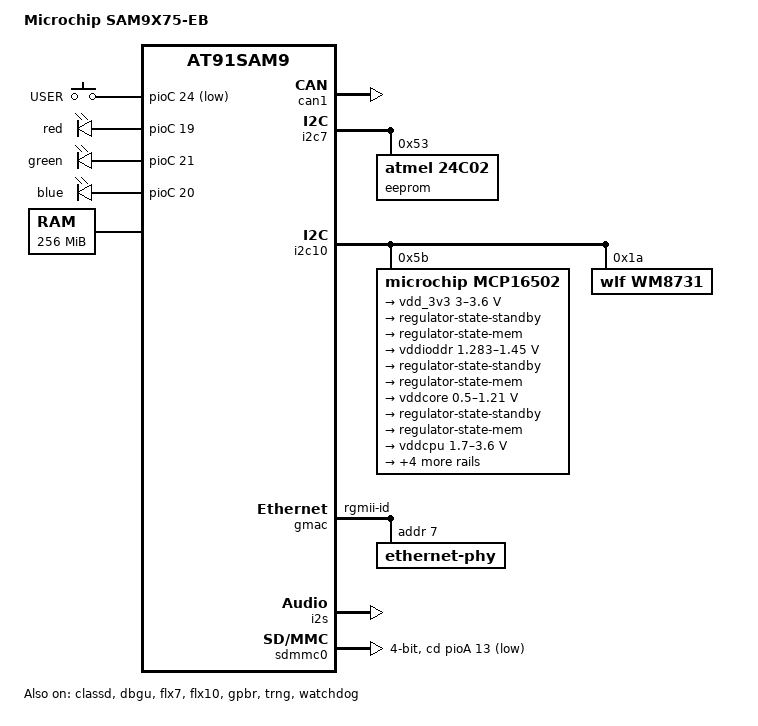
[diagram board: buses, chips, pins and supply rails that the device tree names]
// SPDX-License-Identifier: (GPL-2.0+ OR MIT)
/*
 * at91-sam9x75eb.dts - Device Tree file for Microchip SAM9X75-EB board
 *
 * Copyright (C) 2022 Microchip Technology Inc. and its subsidiaries
 *
 * Author: Balamanikandan Gunasundar <balamanikandan.gunasundar@microchip.com>
 *	Varshini Rajendran <varshini.rajendran@microchip.com>
 */
/dts-v1/;
#include "sam9x7.dtsi"
#include <dt-bindings/input/input.h>

/ {
	model = "Microchip SAM9X75-EB";
	compatible = "microchip,sam9x75eb", "microchip,sam9x7", "atmel,at91sam9";

	aliases {
		i2c0 = &i2c7;
		i2c1 = &i2c10;
	};

	chosen {
		stdout-path = "serial0:115200n8";
	};

	clocks {
		slow_xtal {
			clock-frequency = <32768>;
		};

		main_xtal {
			clock-frequency = <24000000>;
		};
	};

	gpio_keys {
		compatible = "gpio-keys";
		pinctrl-names = "default";
		pinctrl-0 = <&pinctrl_key_gpio_default>;
		status = "okay";

		sw1 {
			label = "USER";
			gpios = <&pioC 24 GPIO_ACTIVE_LOW>;
			linux,code = <KEY_PROG1>;
			wakeup-source;
		};
	};

	leds {
		compatible = "gpio-leds";
		pinctrl-names = "default";
		pinctrl-0 = <&pinctrl_led_gpio_default>;
		status = "okay";

		led-0 {
			label = "red";
			gpios = <&pioC 19 GPIO_ACTIVE_HIGH>;
		};

		led-1 {
			label = "green";
			gpios = <&pioC 21 GPIO_ACTIVE_HIGH>;
		};

		led-2 {
			label = "blue";
			gpios = <&pioC 20 GPIO_ACTIVE_HIGH>;
			linux,default-trigger = "heartbeat";
		};
	};

	memory {
		device_type = "memory";
		reg = <0x20000000 0x10000000>;
	};

	sound {
		compatible = "mikroe,mikroe-proto";
		model = "wm8731 @ sam9x75eb";
		i2s-controller = <&i2s>;
		audio-codec = <&wm8731>;
		dai-format = "i2s";
	};
};

&can0 {
	pinctrl-names = "default";
	pinctrl-0 = <&pinctrl_can0_default>;
	status = "disabled";	/* Conflict with dbgu0 */
};

&can1 {
	pinctrl-names = "default";
	pinctrl-0 = <&pinctrl_can1_default>;
	status = "okay";
};

&classd {
	pinctrl-names = "default";
	pinctrl-0 = <&pinctrl_classd_default>;
	atmel,pwm-type = "diff";
	atmel,non-overlap-time = <10>;
	status = "okay";
};

&dbgu {
	pinctrl-names = "default";
	pinctrl-0 = <&pinctrl_dbgu>;
	status = "okay";
};

&dma0 {
	status = "okay";
};

&flx7 {
	atmel,flexcom-mode = <ATMEL_FLEXCOM_MODE_TWI>;
	status = "okay";

	i2c7: i2c@600 {
		#address-cells = <1>;
		#size-cells = <0>;
		pinctrl-names = "default";
		pinctrl-0 = <&pinctrl_flx7_default>;
		i2c-analog-filter;
		i2c-digital-filter;
		i2c-digital-filter-width-ns = <35>;
		status = "okay";

		eeprom@53 {
			compatible = "atmel,24c02";
			reg = <0x53>;
			pagesize = <16>;
			status = "okay";
		};
	};
};

&flx10 {
	atmel,flexcom-mode = <ATMEL_FLEXCOM_MODE_TWI>;
	status = "okay";

	i2c10: i2c@600 {
		#address-cells = <1>;
		#size-cells = <0>;
		pinctrl-names = "default";
		pinctrl-0 = <&pinctrl_flx10_default>;
		i2c-analog-filter;
		i2c-digital-filter;
		i2c-digital-filter-width-ns = <35>;
		status = "okay";

		mcp16502@5b {
			compatible = "microchip,mcp16502";
			reg = <0x5b>;
			status = "okay";

			regulators {
				vdd_3v3: VDD_IO {
					regulator-name = "VDD_IO";
					regulator-min-microvolt = <3000000>;
					regulator-max-microvolt = <3600000>;
					regulator-initial-mode = <2>;
					regulator-allowed-modes = <2>, <4>;
					regulator-always-on;

					regulator-state-standby {
						regulator-on-in-suspend;
						regulator-mode = <4>;
					};

					regulator-state-mem {
						regulator-mode = <4>;
					};
				};

				vddioddr: VDD_DDR {
					regulator-name = "VDD_DDR";
					regulator-min-microvolt = <1283000>;
					regulator-max-microvolt = <1450000>;
					regulator-initial-mode = <2>;
					regulator-allowed-modes = <2>, <4>;
					regulator-always-on;

					regulator-state-standby {
						regulator-on-in-suspend;
						regulator-mode = <4>;
					};

					regulator-state-mem {
						regulator-on-in-suspend;
						regulator-mode = <4>;
					};
				};

				vddcore: VDD_CORE {
					regulator-name = "VDD_CORE";
					regulator-min-microvolt = <500000>;
					regulator-max-microvolt = <1210000>;
					regulator-initial-mode = <2>;
					regulator-allowed-modes = <2>, <4>;
					regulator-always-on;

					regulator-state-standby {
						regulator-on-in-suspend;
						regulator-mode = <4>;
					};

					regulator-state-mem {
						regulator-mode = <4>;
					};
				};

				vddcpu: VDD_OTHER {
					regulator-name = "VDD_OTHER";
					regulator-min-microvolt = <1700000>;
					regulator-max-microvolt = <3600000>;
					regulator-initial-mode = <2>;
					regulator-allowed-modes = <2>, <4>;
					regulator-ramp-delay = <3125>;
					regulator-always-on;

					regulator-state-standby {
						regulator-on-in-suspend;
						regulator-mode = <4>;
					};

					regulator-state-mem {
						regulator-mode = <4>;
					};
				};

				vldo1: LDO1 {
					regulator-name = "LDO1";
					regulator-min-microvolt = <1200000>;
					regulator-max-microvolt = <3700000>;
					regulator-always-on;

					regulator-state-standby {
						regulator-on-in-suspend;
					};
				};

				vldo2: LDO2 {
					regulator-name = "LDO2";
					regulator-min-microvolt = <1200000>;
					regulator-max-microvolt = <3700000>;

					regulator-state-standby {
						regulator-on-in-suspend;
					};
				};
			};
		};

		wm8731: codec@1a {
			compatible = "wlf,wm8731";
			reg = <0x1a>;
		};
	};
};

&gmac {
	phy-mode = "rgmii-id";
	#address-cells = <1>;
	#size-cells = <0>;

	pinctrl-names = "default";
	pinctrl-0 = <&pinctrl_macb0_rgmii>;
	magic-packet;
	status = "okay";

	ethernet-phy@7 {
		reg = <0x7>;
	};
};

&gpbr {
	status = "okay";
};

&i2s {
	pinctrl-names = "default";
	pinctrl-0 = <&pinctrl_i2s_default>;
	#sound-dai-cells = <0>;
	status = "okay";
};

&pinctrl {

	pinctrl_can0_default: can0{
		atmel,pins = <AT91_PIOA 26 AT91_PERIPH_B AT91_PINCTRL_PULL_UP		/* CAN0 Rx */
			      AT91_PIOA 27 AT91_PERIPH_B AT91_PINCTRL_PULL_UP>;		/* CAN0 Tx */
	};

	pinctrl_can1_default: can1{
		atmel,pins = <AT91_PIOA 28 AT91_PERIPH_B AT91_PINCTRL_PULL_UP		/* CAN1 Tx */
			      AT91_PIOA 29 AT91_PERIPH_B AT91_PINCTRL_PULL_UP>;		/* CAN1 Rx */
	};

	pinctrl_classd_default: classd {
		atmel,pins =
			<AT91_PIOA 18 AT91_PERIPH_C AT91_PINCTRL_PULL_UP
			 AT91_PIOA 19 AT91_PERIPH_C AT91_PINCTRL_PULL_DOWN
			 AT91_PIOA 20 AT91_PERIPH_C AT91_PINCTRL_PULL_UP
			 AT91_PIOA 21 AT91_PERIPH_C AT91_PINCTRL_PULL_DOWN>;
	};

	pinctrl_dbgu: dbgu-0 {
		atmel,pins = <AT91_PIOA 26 AT91_PERIPH_A AT91_PINCTRL_PULL_UP
			      AT91_PIOA 27 AT91_PERIPH_A AT91_PINCTRL_NONE>;
	};

	pinctrl_flx7_default: flx7_twi {
		atmel,pins =
			<AT91_PIOC 0 AT91_PERIPH_C AT91_PINCTRL_PULL_UP
			 AT91_PIOC 1 AT91_PERIPH_C AT91_PINCTRL_PULL_UP>;
	};

	pinctrl_flx10_default: flx10_twi {
		atmel,pins =
			<AT91_PIOC 16 AT91_PERIPH_C AT91_PINCTRL_PULL_UP
			 AT91_PIOC 17 AT91_PERIPH_C AT91_PINCTRL_PULL_UP>;
	};

	pinctrl_key_gpio_default: pinctrl_key_gpio {
		atmel,pins = <AT91_PIOC 24 AT91_PERIPH_GPIO AT91_PINCTRL_NONE>;
	};

	pinctrl_i2s_default: i2s {
		atmel,pins =
			<AT91_PIOB 26 AT91_PERIPH_D AT91_PINCTRL_NONE		/* I2SCK */
			 AT91_PIOB 15 AT91_PERIPH_D AT91_PINCTRL_NONE		/* I2SWS */
			 AT91_PIOB 16 AT91_PERIPH_D AT91_PINCTRL_NONE		/* I2SDIN */
			 AT91_PIOB 17 AT91_PERIPH_D AT91_PINCTRL_NONE		/* I2SDOUT */
			 AT91_PIOB 25 AT91_PERIPH_D AT91_PINCTRL_NONE>;		/* I2SMCK */
	};

	pinctrl_led_gpio_default: pinctrl_led_gpio {
		atmel,pins = <AT91_PIOC 19 AT91_PERIPH_GPIO AT91_PINCTRL_NONE
			      AT91_PIOC 21 AT91_PERIPH_GPIO AT91_PINCTRL_NONE
			      AT91_PIOC 20 AT91_PERIPH_GPIO AT91_PINCTRL_NONE>;
	};

	pinctrl_macb0_rgmii: gmac {
		atmel,pins =
			<AT91_PIOB 13 AT91_PERIPH_A  AT91_PINCTRL_SLEWRATE_DIS				/* ETH_TX0   */
			 AT91_PIOB 14 AT91_PERIPH_A  AT91_PINCTRL_SLEWRATE_DIS				/* ETH_TX1   */
			 AT91_PIOB 4  AT91_PERIPH_A  AT91_PINCTRL_SLEWRATE_DIS				/* ETH_TX2   */
			 AT91_PIOB 5  AT91_PERIPH_A  AT91_PINCTRL_SLEWRATE_DIS				/* ETH_TX3   */
			 AT91_PIOB 7  AT91_PERIPH_A  AT91_PINCTRL_SLEWRATE_DIS				/* ETH_TXCTL  */
			 AT91_PIOB 6  AT91_PERIPH_A (AT91_PINCTRL_PULL_UP | AT91_PINCTRL_SLEWRATE_DIS)	/* ETH_TXCK  */

			 AT91_PIOB 11 AT91_PERIPH_A  AT91_PINCTRL_SLEWRATE_DIS				/* ETH_RX0   */
			 AT91_PIOB 12 AT91_PERIPH_A  AT91_PINCTRL_SLEWRATE_DIS				/* ETH_RX1   */
			 AT91_PIOB 0  AT91_PERIPH_A  AT91_PINCTRL_SLEWRATE_DIS				/* ETH_RX2   */
			 AT91_PIOB 1  AT91_PERIPH_A  AT91_PINCTRL_SLEWRATE_DIS				/* ETH_RX3   */
			 AT91_PIOB 8  AT91_PERIPH_A  AT91_PINCTRL_SLEWRATE_DIS				/* ETH_RXCK   */
			 AT91_PIOB 3  AT91_PERIPH_A  AT91_PINCTRL_SLEWRATE_DIS				/* ETH_RXCTL */

			 AT91_PIOB 10 AT91_PERIPH_A     AT91_PINCTRL_NONE				/* ETH_MDC   */
			 AT91_PIOB 9  AT91_PERIPH_A     AT91_PINCTRL_NONE				/* ETH_MDIO  */

			 AT91_PIOB 2  AT91_PERIPH_A  AT91_PINCTRL_SLEWRATE_DIS				/* ETH_125CK */
			 AT91_PIOD 5  AT91_PERIPH_A  AT91_PINCTRL_SLEWRATE_DIS>;			/* ETH_INT   */
	};

	pinctrl_sdmmc0_default: sdmmc0 {
		atmel,pins =
			<AT91_PIOA 2 AT91_PERIPH_A (AT91_PINCTRL_DRIVE_STRENGTH_HI | AT91_PINCTRL_SLEWRATE_DIS)					/* PA2 CK  periph A with pullup */
			 AT91_PIOA 1 AT91_PERIPH_A (AT91_PINCTRL_PULL_UP | AT91_PINCTRL_DRIVE_STRENGTH_HI | AT91_PINCTRL_SLEWRATE_DIS)		/* PA1 CMD periph A with pullup */
			 AT91_PIOA 0 AT91_PERIPH_A (AT91_PINCTRL_PULL_UP | AT91_PINCTRL_DRIVE_STRENGTH_HI | AT91_PINCTRL_SLEWRATE_DIS)		/* PA0 DAT0 periph A */
			 AT91_PIOA 3 AT91_PERIPH_A (AT91_PINCTRL_PULL_UP | AT91_PINCTRL_DRIVE_STRENGTH_HI | AT91_PINCTRL_SLEWRATE_DIS)		/* PA3 DAT1 periph A with pullup */
			 AT91_PIOA 4 AT91_PERIPH_A (AT91_PINCTRL_PULL_UP | AT91_PINCTRL_DRIVE_STRENGTH_HI | AT91_PINCTRL_SLEWRATE_DIS)		/* PA4 DAT2 periph A with pullup */
			 AT91_PIOA 5 AT91_PERIPH_A (AT91_PINCTRL_PULL_UP | AT91_PINCTRL_DRIVE_STRENGTH_HI | AT91_PINCTRL_SLEWRATE_DIS)>;	/* PA5 DAT3 periph A with pullup */
	};
}; /* pinctrl */

&rtt {
	atmel,rtt-rtc-time-reg = <&gpbr 0x0>;
};

&sdmmc0 {
	bus-width = <4>;
	pinctrl-names = "default";
	pinctrl-0 = <&pinctrl_sdmmc0_default>;
	cd-gpios = <&pioA 13 GPIO_ACTIVE_LOW>;
	disable-wp;
	status = "okay";
};

&poweroff {
	atmel,shdwc-debouncer = <976>;
	status = "okay";

	input@0 {
		reg = <0>;
	};
};

&trng {
	status = "okay";
};

&watchdog {
	status = "okay";
};
